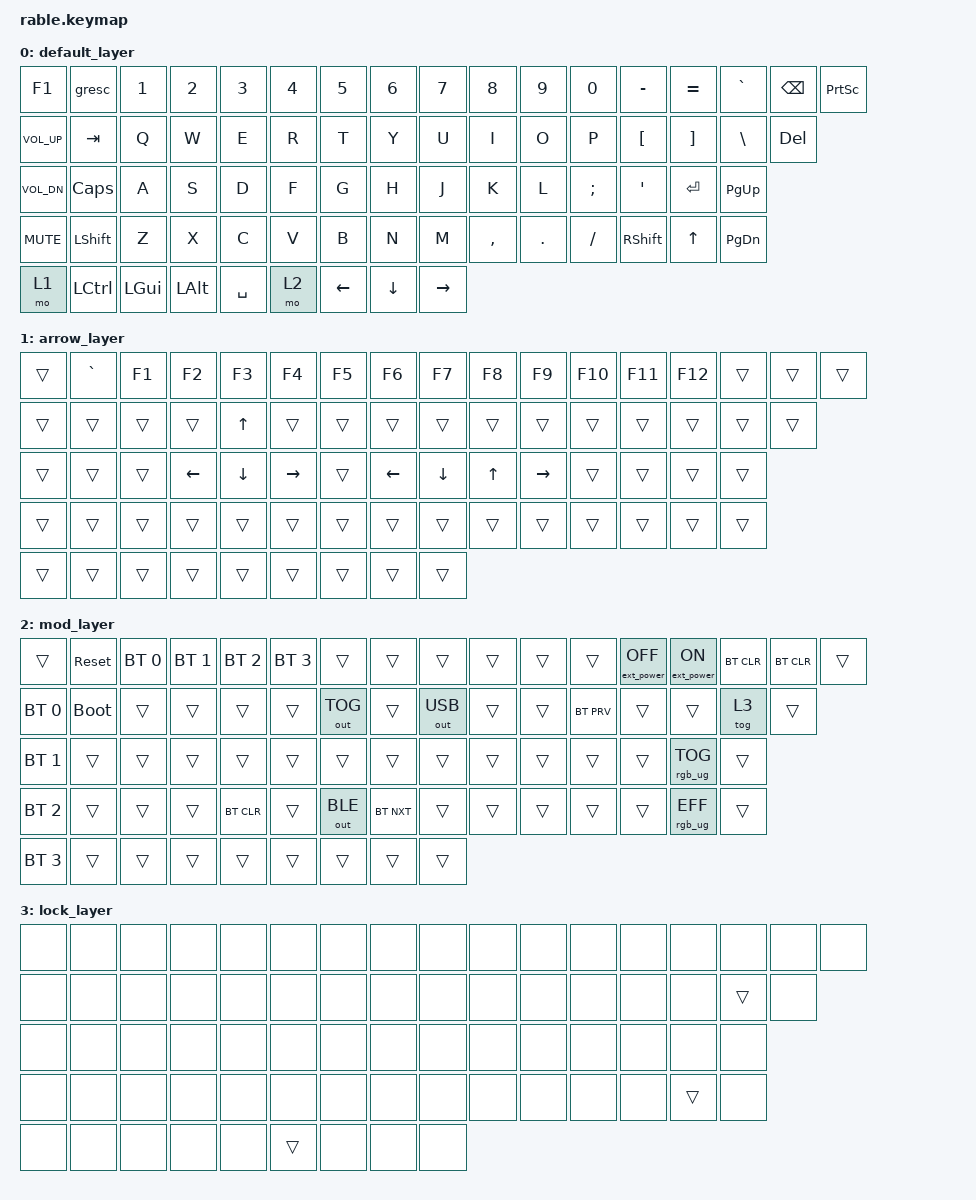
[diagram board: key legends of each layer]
/*
 * Copyright (c) 2021 Nick Winans
 *
 * SPDX-License-Identifier: MIT
 */

#include <behaviors.dtsi>
#include <dt-bindings/zmk/bt.h>
#include <dt-bindings/zmk/ext_power.h>
#include <dt-bindings/zmk/keys.h>
#include <dt-bindings/zmk/outputs.h>
#include <dt-bindings/zmk/rgb.h>

/ {
    keymap {
        compatible = "zmk,keymap";

        default_layer {
            bindings = <
&kp F1        &gresc     &kp N1        &kp N2        &kp N3     &kp N4  &kp N5    &kp N6    &kp N7     &kp N8     &kp N9   &kp N0    &kp MINUS  &kp EQUAL  &kp GRAVE      &kp BACKSPACE  &kp PRINTSCREEN
&kp C_VOL_UP  &kp TAB    &kp Q         &kp W         &kp E      &kp R   &kp T     &kp Y     &kp U      &kp I      &kp O    &kp P     &kp LBKT   &kp RBKT   &kp BACKSLASH  &kp DEL
&kp C_VOL_DN  &kp CLCK   &kp A         &kp S         &kp D      &kp F   &kp G     &kp H     &kp J      &kp K      &kp L    &kp SEMI  &kp SQT    &kp RET    &kp PG_UP
&kp C_MUTE    &kp LSHFT  &kp Z         &kp X         &kp C      &kp V   &kp B     &kp N     &kp M      &kp COMMA  &kp DOT  &kp FSLH  &kp RSHFT  &kp UP     &kp PAGE_DOWN
&mo 1         &kp LCTRL  &kp LEFT_GUI  &kp LEFT_ALT  &kp SPACE  &mo 2   &kp LEFT  &kp DOWN  &kp RIGHT
            >;
        };

        arrow_layer {
            bindings = <
&trans  &kp GRAVE  &kp F1  &kp F2    &kp F3    &kp F4     &kp F5  &kp F6    &kp F7    &kp F8  &kp F9     &kp F10  &kp F11  &kp F12  &trans  &trans  &trans
&trans  &trans     &trans  &trans    &kp UP    &trans     &trans  &trans    &trans    &trans  &trans     &trans   &trans   &trans   &trans  &trans
&trans  &trans     &trans  &kp LEFT  &kp DOWN  &kp RIGHT  &trans  &kp LEFT  &kp DOWN  &kp UP  &kp RIGHT  &trans   &trans   &trans   &trans
&trans  &trans     &trans  &trans    &trans    &trans     &trans  &trans    &trans    &trans  &trans     &trans   &trans   &trans   &trans
&trans  &trans     &trans  &trans    &trans    &trans     &trans  &trans    &trans
            >;
        };

        mod_layer {
            bindings = <
&trans        &sys_reset   &bt BT_SEL 0  &bt BT_SEL 1  &bt BT_SEL 2  &bt BT_SEL 3  &trans        &trans      &trans        &trans  &trans  &trans      &ext_power EP_OFF  &ext_power EP_ON  &bt BT_CLR  &bt BT_CLR  &trans
&bt BT_SEL 0  &bootloader  &trans        &trans        &trans        &trans        &out OUT_TOG  &trans      &out OUT_USB  &trans  &trans  &bt BT_PRV  &trans             &trans            &tog 3      &trans
&bt BT_SEL 1  &trans       &trans        &trans        &trans        &trans        &trans        &trans      &trans        &trans  &trans  &trans      &trans             &rgb_ug RGB_TOG   &trans
&bt BT_SEL 2  &trans       &trans        &trans        &bt BT_CLR    &trans        &out OUT_BLE  &bt BT_NXT  &trans        &trans  &trans  &trans      &trans             &rgb_ug RGB_EFF   &trans
&bt BT_SEL 3  &trans       &trans        &trans        &trans        &trans        &trans        &trans      &trans
            >;
        };

        lock_layer {
            bindings = <
&none  &none  &none  &none  &none  &none   &none  &none  &none  &none  &none  &none  &none  &none   &none   &none  &none
&none  &none  &none  &none  &none  &none   &none  &none  &none  &none  &none  &none  &none  &none   &trans  &none
&none  &none  &none  &none  &none  &none   &none  &none  &none  &none  &none  &none  &none  &none   &none
&none  &none  &none  &none  &none  &none   &none  &none  &none  &none  &none  &none  &none  &trans  &none
&none  &none  &none  &none  &none  &trans  &none  &none  &none
            >;
        };
    };
};
